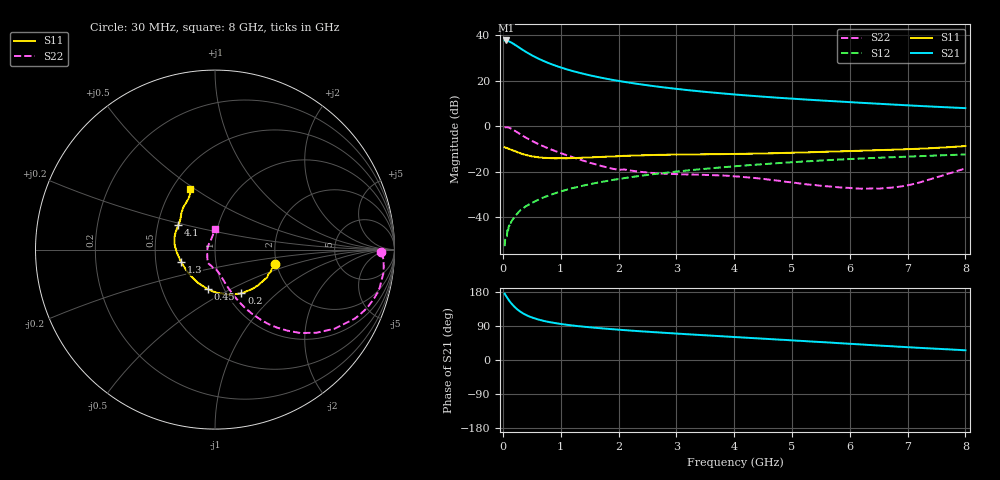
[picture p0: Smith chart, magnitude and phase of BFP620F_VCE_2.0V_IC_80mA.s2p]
! Infineon Technologies  Discrete & RF Semiconductors
! BFP620F
! VCE =  2.0 V,  IC =  80 mA
! Common Emitter S-Parameters:  Dec 2014
# GHz  S  MA  R  50
!  f  S11  S21  S12  S22
! GHz  MAG  ANG  MAG  ANG  MAG  ANG  MAG  ANG
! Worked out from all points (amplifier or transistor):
!   95 points, 30 MHz to 8 GHz, reference 50 ohm
!   highest |S21| = 37.7 dB at 50 MHz (marker M1)
!   |S21| within 3 dB of that: start of sweep to 275 MHz
!   unconditionally stable (mu >= 1): 1.562 GHz to end of sweep
!   at 300 MHz: K = 0.58, MSG = 35.6 dB, |S12| = -37.0 dB
!   at 3.3 GHz: K = 1.04, MAG = 16.2 dB, |S12| = -19.2 dB
!   at 8 GHz: K = 1.06, MAG = 8.8 dB, |S12| = -12.5 dB
!   S11 on the Smith chart (normalised r, x): 30 MHz: 1.97, -0.35; 200 MHz: 1.17, -0.62; 450 MHz: 0.84, -0.39; 1.3 GHz: 0.68, -0.10; 4.1 GHz: 0.64, +0.19; 8 GHz: 0.62, +0.48
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0.03  0.3444 -13.2  75.79 175.1  0.0023 92.2  0.927 -0.9
0.05  0.334 -18.8  76.32 170.1  0.0033 106.8  0.9446 -5.6
0.07  0.3274 -24.7  75.78 165.5  0.0038 74.3  0.9435 -10.3
0.09  0.3232 -30.7  74.38 160.8  0.0049 87.2  0.9379 -14.7
0.13  0.3071 -42.2  70.36 152.4  0.007 83.3  0.895 -22.7
0.15  0.3009 -47.2  68.27 148.7  0.0081 75.8  0.8702 -26.1
0.2  0.2846 -58.9  62.34 140.4  0.01 76.8  0.7988 -33.5
0.25  0.2676 -69.2  56.71 133.5  0.012 75.7  0.73 -39.4
0.3  0.2538 -78.2  51.47 127.7  0.0141 74.2  0.6653 -44.3
0.35  0.2413 -86.7  46.78 123.0  0.0157 74.0  0.6075 -48.1
0.45  0.224 -100.4  39.23 115.4  0.0189 73.8  0.5144 -54.1
0.6  0.2079 -117.3  31.06 107.4  0.0237 73.4  0.4112 -60.1
0.8  0.1989 -133.8  24.04 100.2  0.0301 73.5  0.3192 -65.3
1  0.1973 -146.3  19.49 95.1  0.0366 72.9  0.2559 -68.9
1.3  0.1997 -160.2  15.11 89.4  0.0462 72.1  0.1891 -73.5
1.4  0.2031 -163.8  14.05 87.9  0.0496 71.5  0.1729 -74.9
1.9  0.2155 -178.5  10.38 81.2  0.0657 69.3  0.1156 -84.9
2.7  0.2336 165.8  7.319 72.7  0.0909 64.6  0.0915 -104.8
4.1  0.2456 146.3  4.854 59.8  0.1338 55.6  0.0775 -122.1
5.4  0.2687 134.7  3.731 48.2  0.1724 46.7  0.0507 -149.6
6.7  0.3019 123.6  3.003 36.5  0.2065 37.1  0.0443 145.5
8  0.365 112.0  2.485 25.6  0.238 28.0  0.1171 90.7
